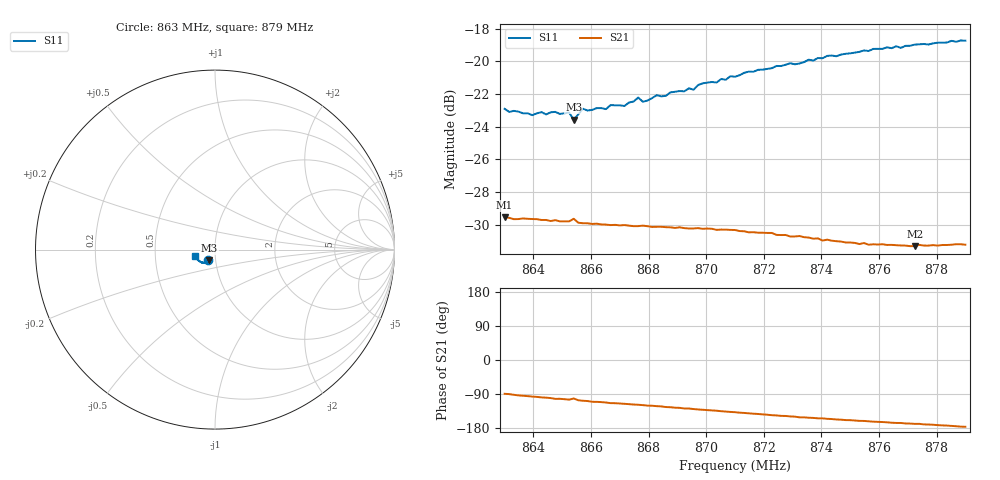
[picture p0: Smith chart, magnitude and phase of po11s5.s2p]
# HZ S RI R 50
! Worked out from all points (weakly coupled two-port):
!   101 points, 863 MHz to 879 MHz, reference 50 ohm
!   highest |S21| = -29.56 dB at 863 MHz (marker M1); lowest = -31.3 dB at 877.24 MHz (marker M2)
!   lowest |S11| = -23.6 dB at 865.4 MHz (marker M3), VSWR 1.14, Z = 46.7 - j5.51 ohm
!   |S11| at or under -10 dB: start of sweep to end of sweep
!   S12 and S22 are empty: the file has one direction only
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8.63e8  -0.0416 -0.0583  0.000473 -0.0332  0 0  0 0
8.6316e8  -0.0406 -0.0571  -1.5e-05 -0.0332  0 0  0 0
8.6396e8  -0.0388 -0.0564  -0.00377 -0.0327  0 0  0 0
8.6428e8  -0.0384 -0.0584  -0.00496 -0.0323  0 0  0 0
8.6444e8  -0.0383 -0.0571  -0.0053 -0.0322  0 0  0 0
8.6524e8  -0.036 -0.0597  -0.00816 -0.0313  0 0  0 0
8.654e8  -0.0308 -0.0588  -0.0066 -0.0323  0 0  0 0
8.6572e8  -0.0356 -0.0622  -0.00959 -0.0304  0 0  0 0
8.6652e8  -0.0347 -0.0624  -0.0119 -0.0293  0 0  0 0
8.6668e8  -0.036 -0.064  -0.0127 -0.0288  0 0  0 0
8.6716e8  -0.0354 -0.0638  -0.0136 -0.0284  0 0  0 0
8.6764e8  -0.038 -0.0675  -0.0147 -0.0276  0 0  0 0
8.678e8  -0.0371 -0.0654  -0.0152 -0.0274  0 0  0 0
8.6828e8  -0.0392 -0.0684  -0.0164 -0.0264  0 0  0 0
8.6844e8  -0.0389 -0.0678  -0.0167 -0.0263  0 0  0 0
8.71e8  -0.0515 -0.0735  -0.0225 -0.0204  0 0  0 0
8.7148e8  -0.055 -0.075  -0.0232 -0.0189  0 0  0 0
8.7372e8  -0.0693 -0.073  -0.0255 -0.0131  0 0  0 0
8.742e8  -0.0754 -0.0717  -0.0258 -0.0119  0 0  0 0
8.7644e8  -0.0921 -0.0598  -0.0265 -0.00685  0 0  0 0
8.7724e8  -0.0993 -0.0531  -0.0266 -0.00538  0 0  0 0
8.79e8  -0.1095 -0.0375  -0.0274 -0.00181  0 0  0 0
